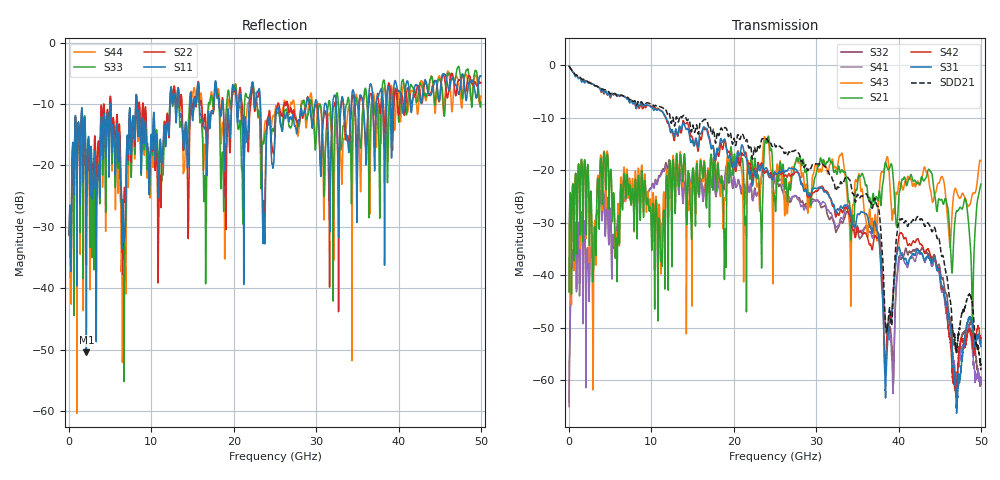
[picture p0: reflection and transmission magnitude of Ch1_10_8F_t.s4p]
!Agilent Technologies,N5247A,US51170199,A.09.90.13
!Agilent N5247A: A.09.90.13
!Date: Tuesday, December 08, 2015 12:48:02
!Correction: S11(Full 4 Port(1,2,3,4))
!S12(Full 4 Port(1,2,3,4))
!S13(Full 4 Port(1,2,3,4))
!S14(Full 4 Port(1,2,3,4))
!S21(Full 4 Port(1,2,3,4))
!S22(Full 4 Port(1,2,3,4))
!S23(Full 4 Port(1,2,3,4))
!S24(Full 4 Port(1,2,3,4))
!S31(Full 4 Port(1,2,3,4))
!S32(Full 4 Port(1,2,3,4))
!S33(Full 4 Port(1,2,3,4))
!S34(Full 4 Port(1,2,3,4))
!S41(Full 4 Port(1,2,3,4))
!S42(Full 4 Port(1,2,3,4))
!S43(Full 4 Port(1,2,3,4))
!S44(Full 4 Port(1,2,3,4))
!S4P File: Measurements: <S11,S12,S13,S14>,
!<S21,S22,S23,S24>,
!<S31,S32,S33,S34>,
!<S41,S42,S43,S44>:
# Hz S  dB  R 50
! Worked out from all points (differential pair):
!   3201 points, 10 MHz to 50 GHz, reference 50 ohm
!   strongest paths, dB at 10 MHz, 12.51 GHz, 25 GHz, 37.5 GHz, 50 GHz:
!     S31: -0.2, -12.3, -20.4, -31.8, -53.6
!     S42: -0.2, -12.6, -20.4, -32.8, -52.8
!     S21: -43.2, -27.6, -26.1, -25.8, -22.7
!     S43: -43.2, -26.5, -24.4, -27.7, -18.3
!     S41: -65.1, -20.4, -21.9, -31.9, -60.1
!     S32: -64.1, -19.7, -22.5, -32.2, -60.1
!   taken as a pair (ports 1,2 in; 3,4 out), SDD21 dB: -0.2, -10.6, -15.3, -27.0, -58.1
!   lowest |S11| = -50.5 dB at 2.103 GHz (marker M1), VSWR 1.01, Z = 49.7 - j0.119 ohm
!   |S11| at or under -10 dB: start of sweep to 5 GHz; 8.248 GHz to 12.26 GHz (4.008 GHz wide, 39.1 % of centre); 23.24 GHz to 28.82 GHz (5.582 GHz wide, 21.4 % of centre)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
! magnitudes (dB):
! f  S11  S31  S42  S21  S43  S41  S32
! 10 MHz  -31.2  -0.2  -0.2  -43.2  -43.2  -65.1  -64.1
! 2.103 GHz  -50.5  -3.0  -3.0  -30.5  -31.0  -41.5  -42.1
! 6.665 GHz  -32.1  -6.0  -6.0  -20.9  -19.5  -25.7  -25.9
! 8.336 GHz  -15.2  -7.4  -7.4  -24.4  -22.7  -23.6  -23.6
! 23.82 GHz  -27.5  -19.7  -20.5  -14.3  -14.0  -20.3  -20.5
! 38.47 GHz  -12.0  -59.7  -54.8  -18.7  -18.4  -50.9  -50.1
! 50 GHz  -5.4  -53.6  -52.8  -22.7  -18.3  -60.1  -60.1
